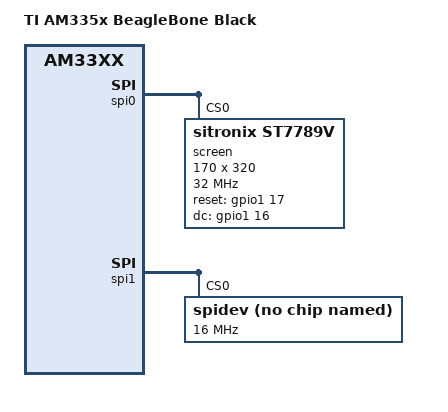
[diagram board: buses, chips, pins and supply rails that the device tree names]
/*
 * Copyright (C) 2012 Texas Instruments Incorporated - http://www.ti.com/
 *
 * This program is free software; you can redistribute it and/or modify
 * it under the terms of the GNU General Public License version 2 as
 * published by the Free Software Foundation.
 */
/dts-v1/;

#include "am33xx.dtsi"
#include "am335x-bone-common.dtsi"
#include "am335x-boneblack-common.dtsi"

/ {
	model = "TI AM335x BeagleBone Black";
	compatible = "ti,am335x-bone-black", "ti,am335x-bone", "ti,am33xx";
};

&cpu0_opp_table {
	/*
	 * All PG 2.0 silicon may not support 1GHz but some of the early
	 * BeagleBone Blacks have PG 2.0 silicon which is guaranteed
	 * to support 1GHz OPP so enable it for PG 2.0 on this board.
	 */
	oppnitro-1000000000 {
		opp-supported-hw = <0x06 0x0100>;
	};
};

&am33xx_pinmux {
    spi0_pins_s0: spi0_pins_s0 {
        pinctrl-single,pins = <
          0x150 0x30  /* spi0_sclk, INPUT_PULLUP | MODE0 */
          0x154 0x30  /* spi0_d0, INPUT_PULLUP | MODE0 */
          0x158 0x10  /* spi0_d1, OUTPUT_PULLUP | MODE0 */
          0x15c 0x10  /* spi0_cs0, OUTPUT_PULLUP | MODE0 */
        >;
    };

    spi1_pins_s0: spi1_pins_s0 {
        pinctrl-single,pins = <
		    0x190 0x33      /* mcasp0_aclkx.spi1_sclk, INPUT_PULLUP | MODE3 */
		    0x194 0x13      /* mcasp0_fsx.spi1_d0, OUTPUT_PULLUP | MODE3 */
		    0x198 0x33      /* mcasp0_axr0.spi1_d1, INPUT_PULLUP | MODE3 */
		    0x19c 0x13      /* mcasp0_ahclkr.spi1_cs0, OUTPUT_PULLUP | MODE3 */
        >;
    };    
};



&spi0 {
	#address-cells = <1>;
	#size-cells = <0>;
	status = "okay";
	pinctrl-names = "default";
	pinctrl-0 = <&spi0_pins_s0>;

    screen@0 {
    	status = "okay";
        compatible = "sitronix,st7789v";
        reg = <0>;
        buswidth = <8>;
        /*for bbb use these seetings for gpio48,49*/
        reset-gpios = <&gpio1 17 GPIO_ACTIVE_HIGH>;        
        dc-gpios = <&gpio1 16 GPIO_ACTIVE_HIGH>;
        spi-max-frequency = <32000000>;
		width = <170>;
		height = <320>;        
        rotate = <270>;
    };

	spidev@0 {
		status = "disabled";
		compatible = "rohm,dh2228fv";
		reg = <0>;
		spi-max-frequency = <16000000>;
	};

};

&spi1 {
	#address-cells = <1>;
	#size-cells = <0>;
	status = "okay";
	pinctrl-names = "default";
	pinctrl-0 = <&spi1_pins_s0>;

	spidev@0 {
		compatible = "rohm,dh2228fv";
		reg = <0>;
		spi-max-frequency = <16000000>;
	};	
};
